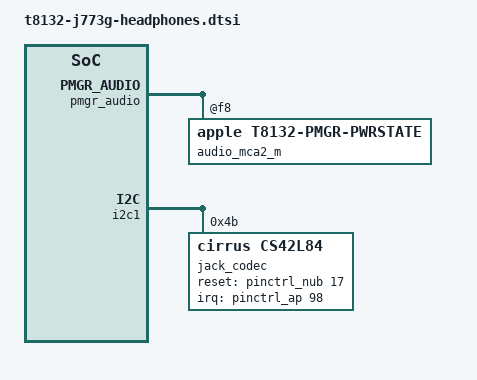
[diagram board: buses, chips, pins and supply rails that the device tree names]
// SPDX-License-Identifier: GPL-2.0+ OR MIT
/*
 * J773g 3.5 mm jack: CS42L84 on i2c1 0x4b, AUDIO_MCA2_M, and the card node
 * for the cluster-2 CPU DAI driver (port of audio/j713/headphones). Values
 * from private/iodevicetree-j773g.txt: codec i2c1@4B (reset nub-gpio 17
 * active high, irq gpio0 98), ADMAC base-ns TX 4 / RX 5, PMGR AUDIO_MCA2_M
 * psidx 0x1f -> pmgr_audio + 0xf8.
 */

&pmgr_audio {
	ps_audio_mca2_m: power-controller@f8 {
		compatible = "apple,t8132-pmgr-pwrstate", "apple,t8103-pmgr-pwrstate";
		reg = <0xf8 4>;
		#power-domain-cells = <0>;
		#reset-cells = <0>;
		label = "audio_mca2_m";
		power-domains = <&ps_audio_p>;
	};
};

&i2c1 {
	status = "okay";

	jack_codec: codec@4b {
		compatible = "cirrus,cs42l84";
		reg = <0x4b>;
		reset-gpios = <&pinctrl_nub 17 GPIO_ACTIVE_HIGH>;
		interrupts-extended = <&pinctrl_ap 98 IRQ_TYPE_LEVEL_LOW>;
		#sound-dai-cells = <0>;
		sound-name-prefix = "Jack";
	};
};

/ {
	headphones {
		compatible = "omarchy,j773g-headphones";
		power-domains = <&ps_audio_p>, <&ps_audio_mca0_m>, <&ps_audio_mca2_m>;
		dmas = <&admac 4>, <&admac 5>;
		dma-names = "tx", "rx";
		omarchy,codec = <&jack_codec>;
		#sound-dai-cells = <0>;
	};
};
